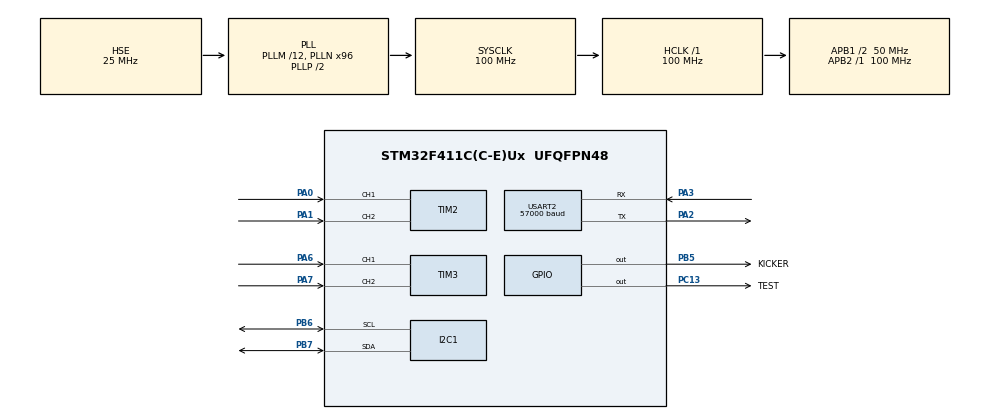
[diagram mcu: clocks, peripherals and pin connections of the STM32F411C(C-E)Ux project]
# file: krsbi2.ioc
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Dma.Request0=USART2_RX
Dma.Request1=USART2_TX
Dma.USART2_RX.0.Direction=DMA_PERIPH_TO_MEMORY
Dma.USART2_RX.0.FIFOMode=DMA_FIFOMODE_DISABLE
Dma.USART2_RX.0.Instance=DMA1_Stream5
Dma.USART2_RX.0.MemDataAlignment=DMA_MDATAALIGN_BYTE
Dma.USART2_RX.0.MemInc=DMA_MINC_ENABLE
Dma.USART2_RX.0.Mode=DMA_CIRCULAR
Dma.USART2_RX.0.PeriphDataAlignment=DMA_PDATAALIGN_BYTE
Dma.USART2_RX.0.PeriphInc=DMA_PINC_DISABLE
Dma.USART2_RX.0.Priority=DMA_PRIORITY_LOW
Dma.USART2_TX.1.Direction=DMA_MEMORY_TO_PERIPH
Dma.USART2_TX.1.FIFOMode=DMA_FIFOMODE_DISABLE
Dma.USART2_TX.1.Instance=DMA1_Stream6
Dma.USART2_TX.1.MemDataAlignment=DMA_MDATAALIGN_BYTE
Dma.USART2_TX.1.MemInc=DMA_MINC_ENABLE
Dma.USART2_TX.1.Mode=DMA_NORMAL
Dma.USART2_TX.1.PeriphDataAlignment=DMA_PDATAALIGN_BYTE
Dma.USART2_TX.1.PeriphInc=DMA_PINC_DISABLE
Dma.USART2_TX.1.Priority=DMA_PRIORITY_LOW
Mcu.Family=STM32F4
Mcu.Name=STM32F411C(C-E)Ux
Mcu.Package=UFQFPN48
NVIC.DMA1_Stream5_IRQn=true\:0\:0\:false\:false\:true\:false\:true\:true
NVIC.DMA1_Stream6_IRQn=true\:0\:0\:false\:false\:true\:false\:true\:true
NVIC.PriorityGroup=NVIC_PRIORITYGROUP_4
NVIC.TIM1_BRK_TIM9_IRQn=true\:0\:0\:false\:false\:true\:true\:true\:true
NVIC.TIM1_CC_IRQn=true\:0\:0\:false\:false\:true\:true\:true\:true
NVIC.TIM1_TRG_COM_TIM11_IRQn=true\:0\:0\:false\:false\:true\:true\:true\:true
NVIC.TIM1_UP_TIM10_IRQn=true\:0\:0\:false\:false\:true\:true\:true\:true
NVIC.USART2_IRQn=true\:0\:0\:false\:false\:true\:true\:true\:true
PA0-WKUP.Signal=S_TIM2_CH1_ETR
PA1.Signal=S_TIM2_CH2
PA13.Mode=Serial_Wire
PA13.Signal=SYS_JTMS-SWDIO
PA14.Mode=Serial_Wire
PA14.Signal=SYS_JTCK-SWCLK
PA2.Mode=Asynchronous
PA2.Signal=USART2_TX
PA3.Mode=Asynchronous
PA3.Signal=USART2_RX
PA6.Signal=S_TIM3_CH1
PA7.Signal=S_TIM3_CH2
PB5.GPIO_Label=KICKER
PB5.Signal=GPIO_Output
PB6.Mode=I2C
PB6.Signal=I2C1_SCL
PB7.Mode=I2C
PB7.Signal=I2C1_SDA
PC13-ANTI_TAMP.GPIO_Label=TEST
PC13-ANTI_TAMP.GPIO_ModeDefaultOutputPP=GPIO_MODE_OUTPUT_OD
PC13-ANTI_TAMP.GPIO_PuPd=GPIO_NOPULL
PC13-ANTI_TAMP.PinState=GPIO_PIN_RESET
PC13-ANTI_TAMP.Signal=GPIO_Output
PH0\ -\ OSC_IN.Mode=HSE-External-Oscillator
PH0\ -\ OSC_IN.Signal=RCC_OSC_IN
PH1\ -\ OSC_OUT.Mode=HSE-External-Oscillator
PH1\ -\ OSC_OUT.Signal=RCC_OSC_OUT
ProjectManager.HeapSize=0x200
ProjectManager.StackSize=0x400
ProjectManager.TargetToolchain=STM32CubeIDE
RCC.48MHZClocksFreq_Value=50000000
RCC.AHBFreq_Value=100000000
RCC.APB1CLKDivider=RCC_HCLK_DIV2
RCC.APB1Freq_Value=50000000
RCC.APB1TimFreq_Value=100000000
RCC.APB2Freq_Value=100000000
RCC.APB2TimFreq_Value=100000000
RCC.CortexFreq_Value=100000000
RCC.HCLKFreq_Value=100000000
RCC.HSE_VALUE=25000000
RCC.HSI_VALUE=16000000
RCC.LSE_VALUE=32768
RCC.PLLM=12
RCC.PLLN=96
RCC.PLLSourceVirtual=RCC_PLLSOURCE_HSE
RCC.SYSCLKFreq_VALUE=100000000
RCC.SYSCLKSource=RCC_SYSCLKSOURCE_PLLCLK
RCC.VCOOutputFreq_Value=200000000
SH.S_TIM2_CH1_ETR.0=TIM2_CH1,Encoder_Interface
SH.S_TIM2_CH2.0=TIM2_CH2,Encoder_Interface
SH.S_TIM3_CH1.0=TIM3_CH1,Encoder_Interface
SH.S_TIM3_CH2.0=TIM3_CH2,Encoder_Interface
TIM1.Period=1000-1
TIM1.Prescaler=100-1
USART2.BaudRate=57000
USART2.VirtualMode=VM_ASYNC
VP_TIM1_VS_ClockSourceINT.Mode=Internal
board=custom

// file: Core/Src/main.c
/* USER CODE BEGIN Header */
/**
  ******************************************************************************
  * @file           : main.c
  * @brief          : Main program body
  ******************************************************************************
  * @attention
  *
  * Copyright (c) 2024 STMicroelectronics.
  * All rights reserved.
  *
  * This software is licensed under terms that can be found in the LICENSE file
  * in the root directory of this software component.
  * If no LICENSE file comes with this software, it is provided AS-IS.
  *
  ******************************************************************************
  */
/* USER CODE END Header */
#include "main.h"
#include "dma.h"
#include "i2c.h"
#include "tim.h"
#include "usart.h"
#include "gpio.h"

/* USER CODE BEGIN Includes */

#include "utility.h"
#include "bno055_stm32.h"
#include <mainpp.h>
#include <strings.h>
#include <math.h>
#include <stdbool.h>

#define pi 3.14159265358979323846

// Extern Variable ===============
extern struct Magnetometer{
	float x,y,z, w, roll, pitch, yaw;
}bno;

extern bool state;

void quaternionToEuler(float x, float y, float z, float w, float *roll, float *pitch, float *yaw);

// ===========================

/* USER CODE END Includes */

void SystemClock_Config(void);

/* USER CODE BEGIN 0 */
//	bno055_assignI2C(&hi2c1);
//	bno055_setup();
//	bno055_setOperationModeNDOF();

/* USER CODE END 0 */

int main(void)
{

  /* USER CODE BEGIN 1 */

	uint32_t currenTick = HAL_GetTick();

  /* USER CODE END 1 */

  /* MCU Configuration--------------------------------------------------------*/

  /* Reset of all peripherals, Initializes the Flash interface and the Systick. */
  HAL_Init();

  /* Configure the system clock */
  SystemClock_Config();

  /* Initialize all configured peripherals */
  MX_GPIO_Init();
  MX_DMA_Init();
  MX_USART2_UART_Init();
  MX_TIM1_Init();
  MX_I2C1_Init();
  MX_TIM2_Init();
  MX_TIM3_Init();
  /* USER CODE BEGIN 2 */

  HAL_TIM_Base_Start_IT(&htim1);
  bno055_assignI2C(&hi2c1);
  bno055_setup();
  bno055_setOperationModeNDOF();
  setup();

  /* USER CODE END 2 */

  /* Infinite loop */
  while (1)
  {

    /* USER CODE BEGIN 3 */
	  if(HAL_GetTick()-currenTick>100){

			loop();
			currenTick = HAL_GetTick();

		}
  }
  /* USER CODE END 3 */
}

void SystemClock_Config(void)
{
  RCC_OscInitTypeDef RCC_OscInitStruct = {0};
  RCC_ClkInitTypeDef RCC_ClkInitStruct = {0};

  /** Configure the main internal regulator output voltage
  */
  __HAL_RCC_PWR_CLK_ENABLE();
  __HAL_PWR_VOLTAGESCALING_CONFIG(PWR_REGULATOR_VOLTAGE_SCALE1);

  /** Initializes the RCC Oscillators according to the specified parameters
  * in the RCC_OscInitTypeDef structure.
  */
  RCC_OscInitStruct.OscillatorType = RCC_OSCILLATORTYPE_HSE;
  RCC_OscInitStruct.HSEState = RCC_HSE_ON;
  RCC_OscInitStruct.PLL.PLLState = RCC_PLL_ON;
  RCC_OscInitStruct.PLL.PLLSource = RCC_PLLSOURCE_HSE;
  RCC_OscInitStruct.PLL.PLLM = 12;
  RCC_OscInitStruct.PLL.PLLN = 96;
  RCC_OscInitStruct.PLL.PLLP = RCC_PLLP_DIV2;
  RCC_OscInitStruct.PLL.PLLQ = 4;
  if (HAL_RCC_OscConfig(&RCC_OscInitStruct) != HAL_OK)
  {
    Error_Handler();
  }

  /** Initializes the CPU, AHB and APB buses clocks
  */
  RCC_ClkInitStruct.ClockType = RCC_CLOCKTYPE_HCLK|RCC_CLOCKTYPE_SYSCLK
                              |RCC_CLOCKTYPE_PCLK1|RCC_CLOCKTYPE_PCLK2;
  RCC_ClkInitStruct.SYSCLKSource = RCC_SYSCLKSOURCE_PLLCLK;
  RCC_ClkInitStruct.AHBCLKDivider = RCC_SYSCLK_DIV1;
  RCC_ClkInitStruct.APB1CLKDivider = RCC_HCLK_DIV2;
  RCC_ClkInitStruct.APB2CLKDivider = RCC_HCLK_DIV1;

  if (HAL_RCC_ClockConfig(&RCC_ClkInitStruct, FLASH_LATENCY_3) != HAL_OK)
  {
    Error_Handler();
  }
}

/* USER CODE BEGIN 4 */

short counterBNO = 0;
float pitch, roll, yaw;
float x, y, z, w;

void HAL_TIM_PeriodElapsedCallback(TIM_HandleTypeDef *htim){
	if(htim == &htim1){
		if(counterBNO == 10){
			bno055_vector_t v = bno055_getVectorQuaternion();
			x = v.x;
			y = v.y;
			z = v.z;
			w = v.w;

			quaternionToEuler(x, y, z, w, &roll, &pitch, &yaw);
//			void (*quaternion)(float, float, float, float, float, float) = &quaternionToEuler;
//			(*quaternion)(x, y, z, w, &roll, &pitch, &yaw);

			bno.pitch = pitch*180/pi;
			bno.roll = roll*180/pi;
			bno.yaw = yaw*180/pi;

			if(state == true) {
				HAL_GPIO_WritePin(KICKER_GPIO_Port, KICKER_Pin, RESET);
				HAL_GPIO_WritePin(TEST_GPIO_Port, TEST_Pin, RESET);
			}
			else {
				HAL_GPIO_WritePin(KICKER_GPIO_Port, KICKER_Pin, SET);
				HAL_GPIO_WritePin(TEST_GPIO_Port, TEST_Pin, SET);
			}
			counterBNO = 0;
		}

		counterBNO++;

	}
}

void quaternionToEuler(float x, float y, float z, float w, float *roll, float *pitch, float *yaw) {
    // Roll (x-axis rotation)
    float sinr_cosp = 2.0 * (w * x + y * z);
    float cosr_cosp = 1.0 - 2.0 * (x * x + y * y);
    *roll = atan2(sinr_cosp, cosr_cosp);

    // Pitch (y-axis rotation)
    float sinp = 2.0 * (w * y - z * x);
    if (fabs(sinp) >= 1)
        *pitch = copysign(M_PI / 2, sinp); // Use 90 degrees if out of range
    else
        *pitch = asin(sinp);

    // Yaw (z-axis rotation)
    float siny_cosp = 2.0 * (w * z + x * y);
    float cosy_cosp = 1.0 - 2.0 * (y * y + z * z);
    *yaw = atan2(siny_cosp, cosy_cosp);
}

/* USER CODE END 4 */

void Error_Handler(void)
{
  __disable_irq();
  while (1)
  {
  }
}
